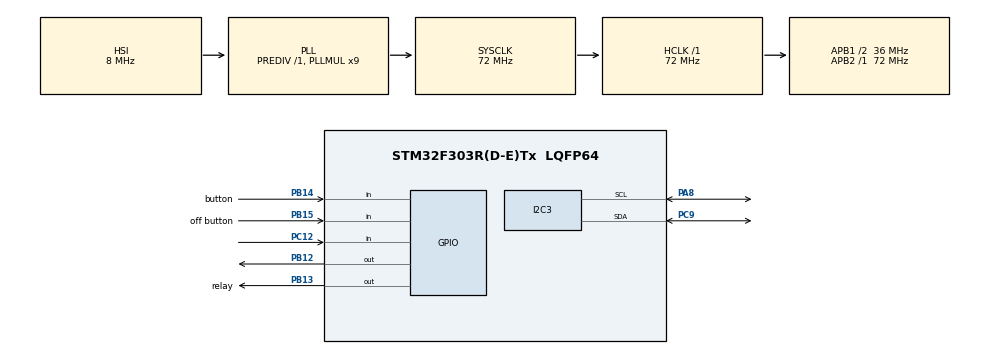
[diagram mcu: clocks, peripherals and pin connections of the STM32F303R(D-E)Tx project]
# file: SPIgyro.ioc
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Mcu.Family=STM32F3
Mcu.Name=STM32F303R(D-E)Tx
Mcu.Package=LQFP64
NVIC.PriorityGroup=NVIC_PRIORITYGROUP_0
PA13.Mode=Serial_Wire
PA13.Signal=SYS_JTMS-SWDIO
PA14.Mode=Serial_Wire
PA14.Signal=SYS_JTCK-SWCLK
PA8.Mode=I2C
PA8.Signal=I2C3_SCL
PB12.PinState=GPIO_PIN_RESET
PB12.Signal=GPIO_Output
PB13.GPIO_Label=relay
PB13.Signal=GPIO_Output
PB14.GPIO_Label=button
PB14.Signal=GPIO_Input
PB15.GPIO_Label=off button
PB15.Signal=GPIO_Input
PC12.Signal=GPIO_Input
PC9.Mode=I2C
PC9.Signal=I2C3_SDA
ProjectManager.HeapSize=0x200
ProjectManager.StackSize=0x400
ProjectManager.TargetToolchain=MDK-ARM V5
RCC.AHBFreq_Value=72000000
RCC.APB1CLKDivider=RCC_HCLK_DIV2
RCC.APB1Freq_Value=36000000
RCC.APB1TimFreq_Value=72000000
RCC.APB2Freq_Value=72000000
RCC.APB2TimFreq_Value=72000000
RCC.CortexFreq_Value=72000000
RCC.HCLKFreq_Value=72000000
RCC.HSE_VALUE=8000000
RCC.HSI_VALUE=8000000
RCC.LSE_VALUE=32768
RCC.PLLM=8
RCC.PLLMUL=RCC_PLL_MUL9
RCC.PLLN=336
RCC.PLLP=RCC_PLLP_DIV4
RCC.PLLQ=7
RCC.RCC_PLLsource_Clock_Source_FROM_HSE=RCC_HSE_PREDIV_DIV2
RCC.SYSCLKFreq_VALUE=72000000
RCC.SYSCLKSourceVirtual=RCC_SYSCLKSOURCE_PLLCLK
RCC.USBFreq_Value=72000000
board=NUCLEO-F303RE

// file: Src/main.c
/* USER CODE BEGIN Header */
/**
  ******************************************************************************
  * @file           : main.c
  * @brief          : Main program body
  ******************************************************************************
  * @attention
  *
  * <h2><center>&copy; Copyright (c) 2019 STMicroelectronics.
  * All rights reserved.</center></h2>
  *
  * This software component is licensed by ST under BSD 3-Clause license,
  * the "License"; You may not use this file except in compliance with the
  * License. You may obtain a copy of the License at:
  *                        opensource.org/licenses/BSD-3-Clause
  *
  ******************************************************************************
  */
/* USER CODE END Header */

#include "main.h"

I2C_HandleTypeDef hi2c3;

void SystemClock_Config(void);
static void MX_GPIO_Init(void);
static void MX_I2C3_Init(void);

/* USER CODE BEGIN 0 */
uint8_t i2cBuff [8];
int button_on;
int button_off;
int x=0;
/* USER CODE END 0 */

int main(void)
{

  /* MCU Configuration--------------------------------------------------------*/

  /* Reset of all peripherals, Initializes the Flash interface and the Systick. */
  HAL_Init();

  /* Configure the system clock */
  SystemClock_Config();

  /* Initialize all configured peripherals */
  MX_GPIO_Init();
  MX_I2C3_Init();
  /* USER CODE BEGIN 2 */

	for(uint8_t i=0 ; i<255 ;i++)
{
	if(HAL_I2C_IsDeviceReady(&hi2c3,i, 1, 10) == HAL_OK){
		HAL_GPIO_TogglePin(GPIOD,GPIO_PIN_12);
		break;
	}
}
	i2cBuff[0] = 0x20;
  i2cBuff[1] = 0x1F;
	HAL_I2C_Master_Transmit(&hi2c3, 0xD2, i2cBuff, 2, 10);

	i2cBuff[0] = 0x20 ;
 HAL_I2C_Master_Transmit(&hi2c3, 0xD2, i2cBuff, 1, 10);

  i2cBuff[0] = 0x29;
	HAL_I2C_Master_Receive(&hi2c3, 0xD2 | 0x01, &i2cBuff[1], 1, 10);

  /* USER CODE END 2 */

  /* Infinite loop */
  while (1)
  {

    /* USER CODE BEGIN 3 */

		//OUT_X_H
		i2cBuff[0] = 0x29 ;
 HAL_I2C_Master_Transmit(&hi2c3, 0xD2, i2cBuff, 1, 10);

  i2cBuff[0] = 0x00;
	HAL_I2C_Master_Receive(&hi2c3, 0xD2 , &i2cBuff[2] , 1, 10);

	HAL_GPIO_WritePin(GPIOB,GPIO_PIN_13,GPIO_PIN_SET);

	/**
	push_status = HAL_GPIO_ReadPin(GPIOB,GPIO_PIN_14);
if (relay_status == 0){
	if(push_status == 1){
HAL_GPIO_WritePin(GPIOB,GPIO_PIN_13,GPIO_PIN_SET);
		relay_status =1;
}
	}
if (i2cBuff[1] != 0){
	if(i2cBuff[1] ==0){
		HAL_GPIO_WritePin(GPIOB,GPIO_PIN_13,GPIO_PIN_RESET);
		relay_status =0;
	}
}

if (i2cBuff[1]== 0){
HAL_GPIO_WritePin(GPIOB,GPIO_PIN_12,GPIO_PIN_RESET);
}
else{

HAL_GPIO_WritePin(GPIOB,GPIO_PIN_12,GPIO_PIN_SET);
}

	**/
  }

  /* USER CODE END 3 */
}

void SystemClock_Config(void)
{
  RCC_OscInitTypeDef RCC_OscInitStruct = {0};
  RCC_ClkInitTypeDef RCC_ClkInitStruct = {0};
  RCC_PeriphCLKInitTypeDef PeriphClkInit = {0};

  /** Initializes the CPU, AHB and APB busses clocks
  */
  RCC_OscInitStruct.OscillatorType = RCC_OSCILLATORTYPE_HSI;
  RCC_OscInitStruct.HSIState = RCC_HSI_ON;
  RCC_OscInitStruct.HSICalibrationValue = RCC_HSICALIBRATION_DEFAULT;
  RCC_OscInitStruct.PLL.PLLState = RCC_PLL_ON;
  RCC_OscInitStruct.PLL.PLLSource = RCC_PLLSOURCE_HSI;
  RCC_OscInitStruct.PLL.PLLMUL = RCC_PLL_MUL9;
  RCC_OscInitStruct.PLL.PREDIV = RCC_PREDIV_DIV1;
  if (HAL_RCC_OscConfig(&RCC_OscInitStruct) != HAL_OK)
  {
    Error_Handler();
  }
  /** Initializes the CPU, AHB and APB busses clocks
  */
  RCC_ClkInitStruct.ClockType = RCC_CLOCKTYPE_HCLK|RCC_CLOCKTYPE_SYSCLK
                              |RCC_CLOCKTYPE_PCLK1|RCC_CLOCKTYPE_PCLK2;
  RCC_ClkInitStruct.SYSCLKSource = RCC_SYSCLKSOURCE_PLLCLK;
  RCC_ClkInitStruct.AHBCLKDivider = RCC_SYSCLK_DIV1;
  RCC_ClkInitStruct.APB1CLKDivider = RCC_HCLK_DIV2;
  RCC_ClkInitStruct.APB2CLKDivider = RCC_HCLK_DIV1;

  if (HAL_RCC_ClockConfig(&RCC_ClkInitStruct, FLASH_LATENCY_2) != HAL_OK)
  {
    Error_Handler();
  }
  PeriphClkInit.PeriphClockSelection = RCC_PERIPHCLK_I2C3;
  PeriphClkInit.I2c3ClockSelection = RCC_I2C3CLKSOURCE_HSI;
  if (HAL_RCCEx_PeriphCLKConfig(&PeriphClkInit) != HAL_OK)
  {
    Error_Handler();
  }
}

static void MX_I2C3_Init(void)
{

  hi2c3.Instance = I2C3;
  hi2c3.Init.Timing = 0x2000090E;
  hi2c3.Init.OwnAddress1 = 0;
  hi2c3.Init.AddressingMode = I2C_ADDRESSINGMODE_7BIT;
  hi2c3.Init.DualAddressMode = I2C_DUALADDRESS_DISABLE;
  hi2c3.Init.OwnAddress2 = 0;
  hi2c3.Init.OwnAddress2Masks = I2C_OA2_NOMASK;
  hi2c3.Init.GeneralCallMode = I2C_GENERALCALL_DISABLE;
  hi2c3.Init.NoStretchMode = I2C_NOSTRETCH_DISABLE;
  if (HAL_I2C_Init(&hi2c3) != HAL_OK)
  {
    Error_Handler();
  }
  /** Configure Analogue filter
  */
  if (HAL_I2CEx_ConfigAnalogFilter(&hi2c3, I2C_ANALOGFILTER_ENABLE) != HAL_OK)
  {
    Error_Handler();
  }
  /** Configure Digital filter
  */
  if (HAL_I2CEx_ConfigDigitalFilter(&hi2c3, 0) != HAL_OK)
  {
    Error_Handler();
  }

}

static void MX_GPIO_Init(void)
{
  GPIO_InitTypeDef GPIO_InitStruct = {0};

  /* GPIO Ports Clock Enable */
  __HAL_RCC_GPIOB_CLK_ENABLE();
  __HAL_RCC_GPIOC_CLK_ENABLE();
  __HAL_RCC_GPIOA_CLK_ENABLE();

  /*Configure GPIO pin Output Level */
  HAL_GPIO_WritePin(GPIOB, GPIO_PIN_12|relay_Pin, GPIO_PIN_RESET);

  /*Configure GPIO pins : PB12 relay_Pin */
  GPIO_InitStruct.Pin = GPIO_PIN_12|relay_Pin;
  GPIO_InitStruct.Mode = GPIO_MODE_OUTPUT_PP;
  GPIO_InitStruct.Pull = GPIO_NOPULL;
  GPIO_InitStruct.Speed = GPIO_SPEED_FREQ_LOW;
  HAL_GPIO_Init(GPIOB, &GPIO_InitStruct);

  /*Configure GPIO pins : button_Pin off_button_Pin */
  GPIO_InitStruct.Pin = button_Pin|off_button_Pin;
  GPIO_InitStruct.Mode = GPIO_MODE_INPUT;
  GPIO_InitStruct.Pull = GPIO_NOPULL;
  HAL_GPIO_Init(GPIOB, &GPIO_InitStruct);

  /*Configure GPIO pin : PC12 */
  GPIO_InitStruct.Pin = GPIO_PIN_12;
  GPIO_InitStruct.Mode = GPIO_MODE_INPUT;
  GPIO_InitStruct.Pull = GPIO_NOPULL;
  HAL_GPIO_Init(GPIOC, &GPIO_InitStruct);

}

void Error_Handler(void)
{
}

/************************ (C) COPYRIGHT STMicroelectronics *****END OF FILE****/
